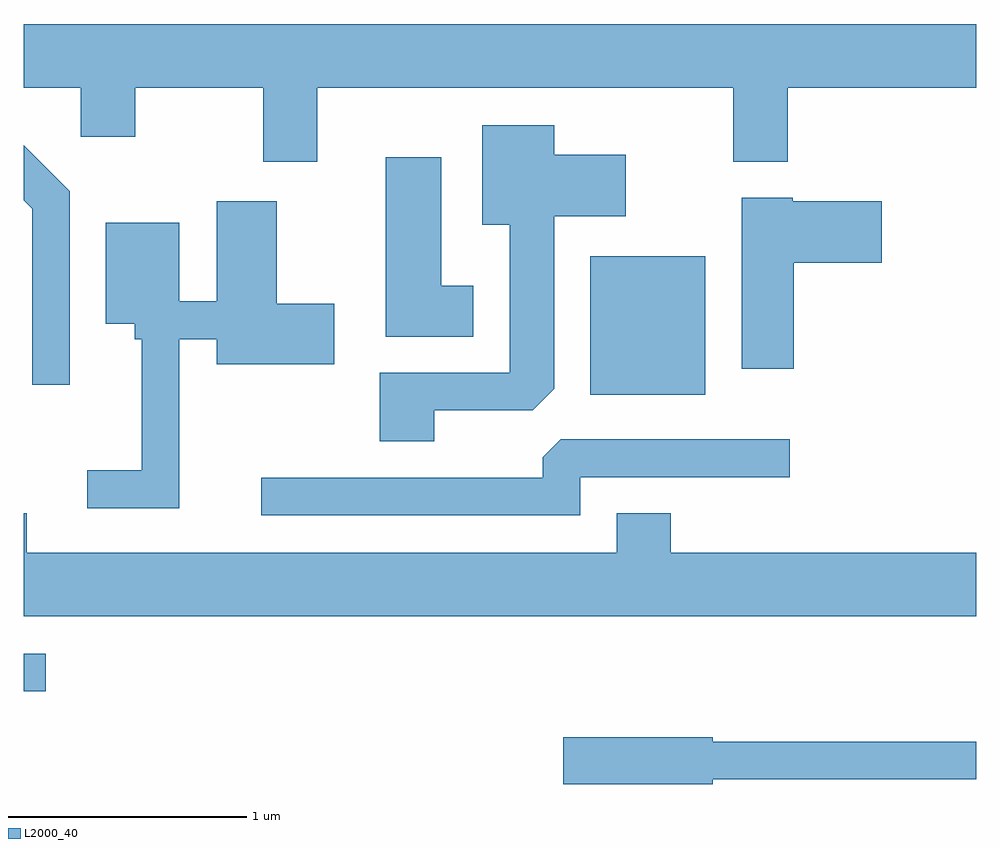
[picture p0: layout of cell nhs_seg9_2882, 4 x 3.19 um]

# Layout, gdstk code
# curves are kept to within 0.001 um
import gdstk
lib = gdstk.Library(unit=1e-6, precision=1e-09)
def R(c, l, rs):  # rectangles x0, y0, x1, y1
    for r in rs: c.add(gdstk.rectangle(r[:2], r[2:], *l))
def P(c, l, *ps):  # polygons
    for p in ps: c.add(gdstk.Polygon(p, *l))
L2000_40 = (2000, 40)

nhs_seg9_2882 = lib.new_cell('nhs_seg9_2882')
R(nhs_seg9_2882, L2000_40, [(269.611,2004.821,269.703,2004.979), (271.991,2006.066,272.474,2006.649)])
P(nhs_seg9_2882, L2000_40, [(270.844,2007.356),(272.591,2007.356),(272.591,2007.046),(272.819,2007.046),(272.819,2007.356),(273.611,2007.356),(273.611,2007.624),(269.611,2007.624),(269.611,2007.356),(269.851,2007.356),(269.851,2007.151),(270.079,2007.151),(270.079,2007.356),(270.616,2007.356),(270.616,2007.046),(270.844,2007.046)],
  [(271.334,2006.001),(271.749,2006.001),(271.839,2006.092),(271.839,2006.816),(272.139,2006.816),(272.139,2007.074),(271.839,2007.074),(271.839,2007.199),(271.536,2007.199),(271.536,2006.781),(271.651,2006.781),(271.651,2006.159),(271.106,2006.159),(271.106,2005.871),(271.334,2005.871)],
  [(269.804,2006.922),(269.611,2007.115),(269.611,2006.884),(269.646,2006.849),(269.646,2006.108),(269.804,2006.108)],
  [(271.499,2006.524),(271.364,2006.524),(271.364,2007.064),(271.131,2007.064),(271.131,2006.311),(271.499,2006.311)],
  [(272.844,2006.621),(273.214,2006.621),(273.214,2006.879),(272.84,2006.879),(272.84,2006.894),(272.626,2006.894),(272.626,2006.176),(272.844,2006.176)],
  [(270.264,2006.301),(270.421,2006.301),(270.421,2006.196),(270.914,2006.196),(270.914,2006.449),(270.674,2006.449),(270.674,2006.879),(270.421,2006.879),(270.421,2006.459),(270.264,2006.459),(270.264,2006.789),(269.956,2006.789),(269.956,2006.366),(270.076,2006.366),(270.076,2006.301),(270.106,2006.301),(270.106,2005.749),(269.878,2005.749),(269.878,2005.591),(270.264,2005.591)],
  [(271.949,2005.721),(272.828,2005.721),(272.828,2005.879),(271.867,2005.879),(271.791,2005.804),(271.791,2005.719),(270.608,2005.719),(270.608,2005.561),(271.949,2005.561)],
  [(273.611,2005.404),(272.329,2005.404),(272.329,2005.569),(272.101,2005.569),(272.101,2005.404),(269.624,2005.404),(269.624,2005.569),(269.611,2005.569),(269.611,2005.136),(273.611,2005.136)],
  [(272.504,2004.451),(273.611,2004.451),(273.611,2004.609),(272.504,2004.609),(272.504,2004.629),(271.876,2004.629),(271.876,2004.432),(272.504,2004.432)])

lib.write_gds('nhs_seg9_2882.gds')
